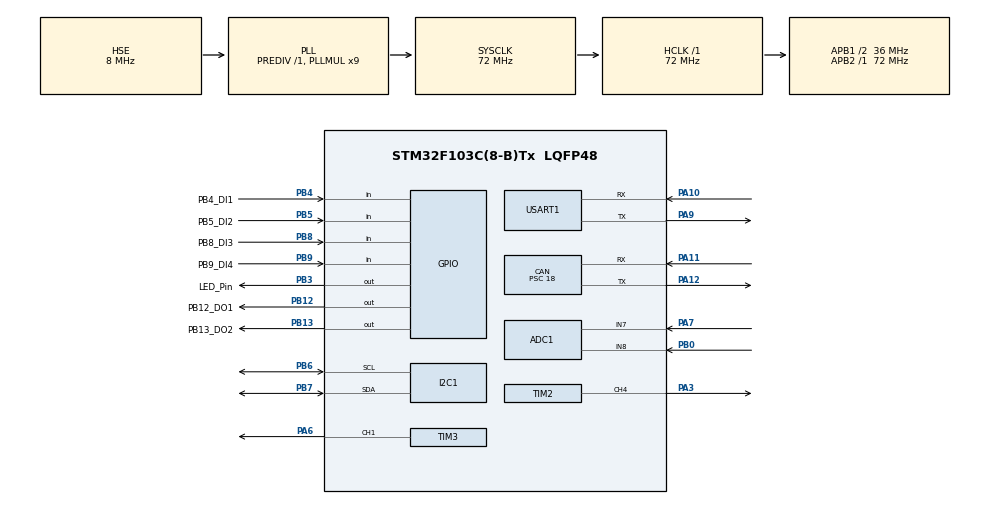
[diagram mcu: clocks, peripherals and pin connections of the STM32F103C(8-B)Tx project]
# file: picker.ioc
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ADC1.Channel-0\#ChannelRegularConversion=ADC_CHANNEL_8
ADC1.Channel-1\#ChannelRegularConversion=ADC_CHANNEL_7
ADC1.ContinuousConvMode=ENABLE
ADC1.NbrOfConversion=2
ADC1.NbrOfConversionFlag=1
ADC1.Rank-0\#ChannelRegularConversion=1
ADC1.Rank-1\#ChannelRegularConversion=2
ADC1.SamplingTime-0\#ChannelRegularConversion=ADC_SAMPLETIME_55CYCLES_5
ADC1.SamplingTime-1\#ChannelRegularConversion=ADC_SAMPLETIME_55CYCLES_5
ADC1.master=1
CAN.BS1=CAN_BS1_3TQ
CAN.BS2=CAN_BS2_4TQ
CAN.CalculateBaudRate=250000
CAN.CalculateTimeBit=4000
CAN.CalculateTimeQuantum=500.0
CAN.Prescaler=18
Dma.ADC1.0.Direction=DMA_PERIPH_TO_MEMORY
Dma.ADC1.0.Instance=DMA1_Channel1
Dma.ADC1.0.MemDataAlignment=DMA_MDATAALIGN_HALFWORD
Dma.ADC1.0.MemInc=DMA_MINC_ENABLE
Dma.ADC1.0.Mode=DMA_CIRCULAR
Dma.ADC1.0.PeriphDataAlignment=DMA_PDATAALIGN_HALFWORD
Dma.ADC1.0.PeriphInc=DMA_PINC_DISABLE
Dma.ADC1.0.Priority=DMA_PRIORITY_VERY_HIGH
Dma.Request0=ADC1
FREERTOS.Tasks01=defaultTask,0,64,StartDefaultTask,Default,NULL,Dynamic,NULL,NULL;MyHeartTask,3,64,Task_MyHeart,Default,NULL,Dynamic,NULL,NULL;CAN_TxTask,2,64,Task_CAN_Tx,Default,NULL,Dynamic,NULL,NULL;Collect_Process,-3,64,Task_Collec_ProcessData,Default,NULL,Dynamic,NULL,NULL
FREERTOS.configMINIMAL_STACK_SIZE=64
IWDG.Prescaler=IWDG_PRESCALER_64
Mcu.Family=STM32F1
Mcu.Name=STM32F103C(8-B)Tx
Mcu.Package=LQFP48
NVIC.DMA1_Channel1_IRQn=true\:5\:0\:false\:false\:true\:true\:false\:true
NVIC.PriorityGroup=NVIC_PRIORITYGROUP_4
NVIC.TIM1_UP_IRQn=true\:15\:0\:false\:false\:true\:false\:false\:true
NVIC.TimeBase=TIM1_UP_IRQn
NVIC.TimeBaseIP=TIM1
NVIC.USB_LP_CAN1_RX0_IRQn=true\:5\:0\:false\:false\:true\:true\:true\:true
PA10.Mode=Asynchronous
PA10.Signal=USART1_RX
PA11.Mode=CAN_Activate
PA11.Signal=CAN_RX
PA12.Mode=CAN_Activate
PA12.Signal=CAN_TX
PA13.Mode=Serial_Wire
PA13.Signal=SYS_JTMS-SWDIO
PA14.Mode=Serial_Wire
PA14.Signal=SYS_JTCK-SWCLK
PA3.Signal=S_TIM2_CH4
PA6.Signal=S_TIM3_CH1
PA7.Signal=ADCx_IN7
PA9.Mode=Asynchronous
PA9.Signal=USART1_TX
PB0.Signal=ADCx_IN8
PB12.GPIO_Label=PB12_DO1
PB12.Signal=GPIO_Output
PB13.GPIO_Label=PB13_DO2
PB13.Signal=GPIO_Output
PB3.GPIO_Label=LED_Pin
PB3.Signal=GPIO_Output
PB4.GPIO_Label=PB4_DI1
PB4.Signal=GPIO_Input
PB5.GPIO_Label=PB5_DI2
PB5.Signal=GPIO_Input
PB6.Mode=I2C
PB6.Signal=I2C1_SCL
PB7.Mode=I2C
PB7.Signal=I2C1_SDA
PB8.GPIO_Label=PB8_DI3
PB8.Signal=GPIO_Input
PB9.GPIO_Label=PB9_DI4
PB9.Signal=GPIO_Input
PD0-OSC_IN.Mode=HSE-External-Oscillator
PD0-OSC_IN.Signal=RCC_OSC_IN
PD1-OSC_OUT.Mode=HSE-External-Oscillator
PD1-OSC_OUT.Signal=RCC_OSC_OUT
ProjectManager.HeapSize=0x200
ProjectManager.StackSize=0x400
ProjectManager.TargetToolchain=MDK-ARM V5
RCC.ADCPresc=RCC_ADCPCLK2_DIV6
RCC.AHBFreq_Value=72000000
RCC.APB1CLKDivider=RCC_HCLK_DIV2
RCC.APB1Freq_Value=36000000
RCC.APB1TimFreq_Value=72000000
RCC.APB2Freq_Value=72000000
RCC.APB2TimFreq_Value=72000000
RCC.HCLKFreq_Value=72000000
RCC.PLLMUL=RCC_PLL_MUL9
RCC.PLLSourceVirtual=RCC_PLLSOURCE_HSE
RCC.SYSCLKFreq_VALUE=72000000
RCC.SYSCLKSource=RCC_SYSCLKSOURCE_PLLCLK
RCC.USBFreq_Value=72000000
SH.ADCx_IN7.0=ADC1_IN7,IN7
SH.ADCx_IN8.0=ADC1_IN8,IN8
SH.S_TIM2_CH4.0=TIM2_CH4,PWM Generation4 CH4
SH.S_TIM3_CH1.0=TIM3_CH1,PWM Generation1 CH1
TIM2.AutoReloadPreload=TIM_AUTORELOAD_PRELOAD_ENABLE
TIM2.Channel-PWM\ Generation4\ CH4=TIM_CHANNEL_4
TIM2.Period=1000-1
TIM2.Prescaler=360-1
TIM3.AutoReloadPreload=TIM_AUTORELOAD_PRELOAD_ENABLE
TIM3.Channel-PWM\ Generation1\ CH1=TIM_CHANNEL_1
TIM3.Period=1000-1
TIM3.Prescaler=360-1
USART1.VirtualMode=VM_ASYNC
VP_FREERTOS_VS_CMSIS_V1.Mode=CMSIS_V1
VP_IWDG_VS_IWDG.Mode=IWDG_Activate
VP_SYS_VS_tim1.Mode=TIM1
VP_TIM2_VS_ClockSourceINT.Mode=Internal
VP_TIM3_VS_ClockSourceINT.Mode=Internal
board=custom

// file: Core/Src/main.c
/* USER CODE BEGIN Header */
/**
  ******************************************************************************
  * @file           : main.c
  * @brief          : Main program body
  ******************************************************************************
  * @attention
  *
  * Copyright (c) 2022 STMicroelectronics.
  * All rights reserved.
  *
  * This software is licensed under terms that can be found in the LICENSE file
  * in the root directory of this software component.
  * If no LICENSE file comes with this software, it is provided AS-IS.
  *
  ******************************************************************************
  */
/* USER CODE END Header */
#include "main.h"
#include "cmsis_os.h"
#include "adc.h"
#include "can.h"
#include "dma.h"
#include "i2c.h"
#include "iwdg.h"
#include "tim.h"
#include "usart.h"
#include "gpio.h"

/* USER CODE BEGIN PV */

uint16_t Default_Height_Value 	= 100;
uint16_t Default_Sensitivity 		= 10;
uint16_t Default_Rapidity 			= 10;
uint16_t Default_PWM_Value_Up 	= 600;
uint16_t Default_PWM_Value_Down = 400;
uint16_t Default_Height_Min			= 1000;
uint16_t Default_Height_Max			= 3000;

/* USER CODE END PV */

void SystemClock_Config(void);
void MX_FREERTOS_Init(void);

int main(void)
{

  /* MCU Configuration--------------------------------------------------------*/

  /* Reset of all peripherals, Initializes the Flash interface and the Systick. */
  HAL_Init();

  /* Configure the system clock */
  SystemClock_Config();

  /* Initialize all configured peripherals */
  MX_GPIO_Init();
  MX_CAN_Init();
  MX_I2C1_Init();
  MX_TIM2_Init();
  MX_TIM3_Init();
  MX_USART1_UART_Init();
	MX_DMA_Init();
  MX_ADC1_Init();
  MX_IWDG_Init();
  /* USER CODE BEGIN 2 */
	CAN_User_Init();
	HAL_ADCEx_Calibration_Start(&hadc1);
	printf("CAN Init OK!!\r\n");
	printf("All Init OK!!\r\n");
	HAL_TIM_PWM_Start(&htim2,TIM_CHANNEL_4);
	HAL_TIM_PWM_Start(&htim3,TIM_CHANNEL_1);
	if(HAL_ADC_Start_DMA(&hadc1, (uint32_t*)&data_collect.ADC1_Val_Buffer, ADC1_CHANNEL_CNT) != HAL_OK)
  {
    Error_Handler();
  }
	EEPROM_DATA_Init();
	Default_Data_Init();
//	__HAL_TIM_SetCompare(&htim2,TIM_CHANNEL_4,0);
//	__HAL_TIM_SetCompare(&htim3,TIM_CHANNEL_1,200);
//	Drive_Out(2,GPIO_PIN_SET);
//	__HAL_TIM_SetCompare(&htim2,TIM_CHANNEL_4,200);
//	__HAL_TIM_SetCompare(&htim3,TIM_CHANNEL_1,200);
  /* USER CODE END 2 */

  /* Call init function for freertos objects (in freertos.c) */
  MX_FREERTOS_Init();
  /* Start scheduler */
  osKernelStart();

  /* We should never get here as control is now taken by the scheduler */
  /* Infinite loop */
  while (1)
  {

  }
}

void SystemClock_Config(void)
{
  RCC_OscInitTypeDef RCC_OscInitStruct = {0};
  RCC_ClkInitTypeDef RCC_ClkInitStruct = {0};
  RCC_PeriphCLKInitTypeDef PeriphClkInit = {0};

  /** Initializes the RCC Oscillators according to the specified parameters
  * in the RCC_OscInitTypeDef structure.
  */
  RCC_OscInitStruct.OscillatorType = RCC_OSCILLATORTYPE_LSI|RCC_OSCILLATORTYPE_HSE;
  RCC_OscInitStruct.HSEState = RCC_HSE_ON;
  RCC_OscInitStruct.HSEPredivValue = RCC_HSE_PREDIV_DIV1;
  RCC_OscInitStruct.HSIState = RCC_HSI_ON;
  RCC_OscInitStruct.LSIState = RCC_LSI_ON;
  RCC_OscInitStruct.PLL.PLLState = RCC_PLL_ON;
  RCC_OscInitStruct.PLL.PLLSource = RCC_PLLSOURCE_HSE;
  RCC_OscInitStruct.PLL.PLLMUL = RCC_PLL_MUL9;
  if (HAL_RCC_OscConfig(&RCC_OscInitStruct) != HAL_OK)
  {
    Error_Handler();
  }
  /** Initializes the CPU, AHB and APB buses clocks
  */
  RCC_ClkInitStruct.ClockType = RCC_CLOCKTYPE_HCLK|RCC_CLOCKTYPE_SYSCLK
                              |RCC_CLOCKTYPE_PCLK1|RCC_CLOCKTYPE_PCLK2;
  RCC_ClkInitStruct.SYSCLKSource = RCC_SYSCLKSOURCE_PLLCLK;
  RCC_ClkInitStruct.AHBCLKDivider = RCC_SYSCLK_DIV1;
  RCC_ClkInitStruct.APB1CLKDivider = RCC_HCLK_DIV2;
  RCC_ClkInitStruct.APB2CLKDivider = RCC_HCLK_DIV1;

  if (HAL_RCC_ClockConfig(&RCC_ClkInitStruct, FLASH_LATENCY_2) != HAL_OK)
  {
    Error_Handler();
  }
  PeriphClkInit.PeriphClockSelection = RCC_PERIPHCLK_ADC;
  PeriphClkInit.AdcClockSelection = RCC_ADCPCLK2_DIV6;
  if (HAL_RCCEx_PeriphCLKConfig(&PeriphClkInit) != HAL_OK)
  {
    Error_Handler();
  }
}

void HAL_TIM_PeriodElapsedCallback(TIM_HandleTypeDef *htim)
{
  if (htim->Instance == TIM1) {
    HAL_IncTick();
  }
}

void Error_Handler(void)
{
  __disable_irq();
  while (1)
  {
  }
}

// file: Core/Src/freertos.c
/* USER CODE BEGIN Header */
/**
  ******************************************************************************
  * File Name          : freertos.c
  * Description        : Code for freertos applications
  ******************************************************************************
  * @attention
  *
  * Copyright (c) 2022 STMicroelectronics.
  * All rights reserved.
  *
  * This software is licensed under terms that can be found in the LICENSE file
  * in the root directory of this software component.
  * If no LICENSE file comes with this software, it is provided AS-IS.
  *
  ******************************************************************************
  */
/* USER CODE END Header */

#include "FreeRTOS.h"
#include "task.h"
#include "main.h"
#include "cmsis_os.h"

/* USER CODE BEGIN Includes */

#include "usart.h"
#include "can.h"
#include "iwdg.h"
#include "i2c.h"
#include "tim.h"
#include "adc.h"

/* USER CODE END Includes */

/* USER CODE BEGIN Variables */
DATA_COLLECT data_collect;
DATA_STORAGE data_storage;
DATA_RESULT  data_result;
BIT_FLAG		 bit_flag;
OUT_PAR			 out_par;
PID		  		 pid_par;

/* USER CODE END Variables */
osThreadId defaultTaskHandle;
osThreadId MyHeartTaskHandle;
osThreadId CAN_TxTaskHandle;
osThreadId Collect_ProcessHandle;

void StartDefaultTask(void const * argument);
void Task_MyHeart(void const * argument);
void Task_CAN_Tx(void const * argument);
void Task_Collec_ProcessData(void const * argument);

void MX_FREERTOS_Init(void); /* (MISRA C 2004 rule 8.1) */

/* GetIdleTaskMemory prototype (linked to static allocation support) */
void vApplicationGetIdleTaskMemory( StaticTask_t **ppxIdleTaskTCBBuffer, StackType_t **ppxIdleTaskStackBuffer, uint32_t *pulIdleTaskStackSize );

/* USER CODE BEGIN GET_IDLE_TASK_MEMORY */
static StaticTask_t xIdleTaskTCBBuffer;
static StackType_t xIdleStack[configMINIMAL_STACK_SIZE];

void vApplicationGetIdleTaskMemory( StaticTask_t **ppxIdleTaskTCBBuffer, StackType_t **ppxIdleTaskStackBuffer, uint32_t *pulIdleTaskStackSize )
{
  *ppxIdleTaskTCBBuffer = &xIdleTaskTCBBuffer;
  *ppxIdleTaskStackBuffer = &xIdleStack[0];
  *pulIdleTaskStackSize = configMINIMAL_STACK_SIZE;
  /* place for user code */
}
/* USER CODE END GET_IDLE_TASK_MEMORY */

void MX_FREERTOS_Init(void) {

  /* Create the thread(s) */
  /* definition and creation of defaultTask */
  osThreadDef(defaultTask, StartDefaultTask, osPriorityNormal, 0, 64);
  defaultTaskHandle = osThreadCreate(osThread(defaultTask), NULL);

  /* definition and creation of MyHeartTask */
  osThreadDef(MyHeartTask, Task_MyHeart, osPriorityRealtime, 0, 64);
  MyHeartTaskHandle = osThreadCreate(osThread(MyHeartTask), NULL);

  /* definition and creation of CAN_TxTask */
  osThreadDef(CAN_TxTask, Task_CAN_Tx, osPriorityHigh, 0, 64);
  CAN_TxTaskHandle = osThreadCreate(osThread(CAN_TxTask), NULL);

  /* definition and creation of Collect_Process */
  osThreadDef(Collect_Process, Task_Collec_ProcessData, osPriorityIdle, 0, 64);
  Collect_ProcessHandle = osThreadCreate(osThread(Collect_Process), NULL);

}

void StartDefaultTask(void const * argument)
{
  /* USER CODE BEGIN StartDefaultTask */
	osDelay(4000);
  /* Infinite loop */
  for(;;)
  {
   if (bit_flag.Write_EEPROM_H_Flag == 1)
		{
			AT24C02_WriteLenByte(Addr_Hieght_value,data_storage.Height_Value,1);
			osDelay(10);
			printf("Height_Value = %d \r\n", data_storage.Height_Value);
			bit_flag.Write_EEPROM_H_Flag = 0;
		}

		if (bit_flag.Write_EEPROM_PWM_S_R_Flag == 1)
		{
			AT24C02_WriteLenByte(Addr_PWM_Value_Down,data_storage.PWM_Value_Down,2);
			osDelay(10);
			AT24C02_WriteLenByte(Addr_PWM_Value_Up,data_storage.PWM_Value_Up,2);
			osDelay(10);

			AT24C02_WriteLenByte(Addr_Sensitivity,data_storage.Sensitivity,1);
			osDelay(10);
			AT24C02_WriteLenByte(Addr_Rapidity,data_storage.Rapidity,1);
			osDelay(10);

			printf("PWM_Value_Up = %d \r\n", data_storage.PWM_Value_Up);
			bit_flag.Write_EEPROM_PWM_S_R_Flag = 0;
		}

		if (bit_flag.Write_EEPROM_Picker_Height_Flag == 1)
		{

			AT24C02_WriteLenByte(Addr_Left1_Min,data_storage.Picker_Set.Left1_Min,2);
			osDelay(10);
			AT24C02_WriteLenByte(Addr_Left1_Max,data_storage.Picker_Set.Left1_Max,2);
			osDelay(10);
			AT24C02_WriteLenByte(Addr_Right1_Min,data_storage.Picker_Set.Right1_Min,2);
			osDelay(10);
			AT24C02_WriteLenByte(Addr_Right1_Max,data_storage.Picker_Set.Right1_Max,2);
			osDelay(10);
			#if Model_Switch
			AT24C02_WriteLenByte(Addr_Left2_Min,data_storage.Picker_Set.Left2_Min,1);
			osDelay(10);
			AT24C02_WriteLenByte(Addr_Left2_Max,data_storage.Picker_Set.Left2_Max,1);
			osDelay(10);
			AT24C02_WriteLenByte(Addr_Right2_Min,data_storage.Picker_Set.Right2_Min,1);
			osDelay(10);
			AT24C02_WriteLenByte(Addr_Right2_Max,data_storage.Picker_Set.Right2_Max,1);
			osDelay(10);
			#endif

			bit_flag.Write_EEPROM_Picker_Height_Flag = 0;

		}

		//角度传感器最大最小值校准
    bit_flag.Calibration_Delay_Falg = 1;

		Hegiht_Calibration();
    osDelay(10);
  }
  /* USER CODE END StartDefaultTask */
}

void Task_MyHeart(void const * argument)
{
  /* USER CODE BEGIN Task_MyHeart */
	uint16_t t = 0;
  /* Infinite loop */
  for(;;)
  {
		HAL_IWDG_Refresh(&hiwdg);
		HAL_GPIO_TogglePin(LED_Pin_GPIO_Port,LED_Pin_Pin);
    printf("LED OK!!  %d \r\n",t++);
    osDelay(500);
  }
  /* USER CODE END Task_MyHeart */
}

void Task_CAN_Tx(void const * argument)
{
  /* USER CODE BEGIN Task_CAN_Tx */
  /* Infinite loop */
  for(;;)
  {

		CAN_Transmit_C1D7();
		osDelay(10);
		CAN_Transmit_C2D7orD8();
		osDelay(10);
		CAN_Transmit_C4D7orD8();
		osDelay(10);
		CAN_Transmit_C5D7orD8();
		osDelay(10);
		CAN_Transmit_C6D7orD8();
		osDelay(10);
		CAN_Transmit_C7D7orD8();
		osDelay(10);
		CAN_Transmit_C8D7orD8();
		osDelay(10);

	}
  /* USER CODE END Task_CAN_Tx */
}

void Task_Collec_ProcessData(void const * argument)
{
  /* USER CODE BEGIN Task_Collec_ProcessData */

	bit_flag.Auto_Manual_Flag = Manual_On;  //默认上电为手动仿形

  /* Infinite loop */
  for(;;)
  {

		/*********数据采集*********/
		Collect_Data();

		/*********数据处理*********/
		Process_Data();

		/*********输出*************/
		Control_Out();

    osDelay(10);
  }
  /* USER CODE END Task_Collec_ProcessData */
}
